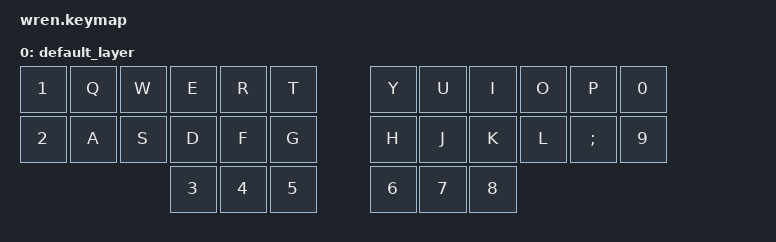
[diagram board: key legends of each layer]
/*
 * Copyright (c) 2020 The ZMK Contributors
 *
 * SPDX-License-Identifier: MIT
 */

#include <behaviors.dtsi>
#include <dt-bindings/zmk/keys.h>

#define DEFAULT 0

/ {
    keymap {
        compatible = "zmk,keymap";

        default_layer {
            bindings = <
&kp N1 &kp Q &kp W &kp E &kp R &kp T                 &kp Y &kp U &kp I &kp O &kp P    &kp N0
&kp N2 &kp A &kp S &kp D &kp F &kp G                 &kp H &kp J &kp K &kp L &kp SEMI &kp N9
                         &kp N3 &kp N4 &kp N5 &kp N6 &kp N7 &kp N8 
            >;
        };
    };
};
